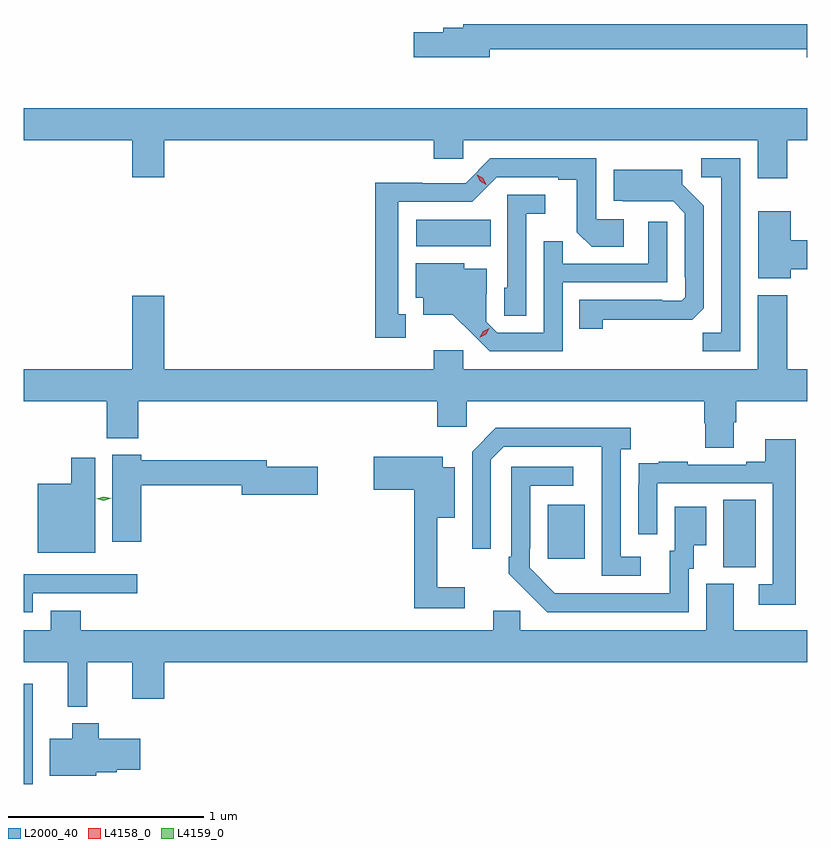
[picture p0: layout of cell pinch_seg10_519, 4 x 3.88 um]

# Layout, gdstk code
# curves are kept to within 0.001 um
import gdstk
lib = gdstk.Library(unit=1e-6, precision=1e-09)
def R(c, l, rs):  # rectangles x0, y0, x1, y1
    for r in rs: c.add(gdstk.rectangle(r[:2], r[2:], *l))
def P(c, l, *ps):  # polygons
    for p in ps: c.add(gdstk.Polygon(p, *l))
L2000_40 = (2000, 40)
L4158_0 = (4158, 0)
L4159_0 = (4159, 0)

pinch_seg10_519 = lib.new_cell('pinch_seg10_519')
R(pinch_seg10_519, L2000_40, [(332.286,1279.714,332.331,1280.227), (335.858,1280.821,336.022,1281.164), (334.961,1280.865,335.149,1281.139), (334.29,1282.46,334.67,1282.594)])
P(pinch_seg10_519, L2000_40, [(334.666,1283.466),(336.284,1283.466),(336.284,1283.423),(336.286,1283.423),(336.286,1283.594),(334.531,1283.594),(334.531,1283.575),(334.427,1283.575),(334.427,1283.553),(334.278,1283.553),(334.278,1283.423),(334.666,1283.423)],
  [(336.185,1283),(336.286,1283),(336.286,1283.164),(332.286,1283.164),(332.286,1283),(332.84,1283),(332.84,1282.812),(333.004,1282.812),(333.004,1283),(334.379,1283),(334.379,1282.907),(334.53,1282.907),(334.53,1283),(336.032,1283),(336.032,1282.806),(336.185,1282.806)],
  [(334.237,1282.113),(334.198,1282.113),(334.198,1282.686),(334.575,1282.686),(334.701,1282.812),(335.015,1282.812),(335.015,1282.8),(335.109,1282.8),(335.109,1282.532),(335.185,1282.456),(335.35,1282.456),(335.35,1282.596),(335.208,1282.596),(335.208,1282.908),(334.668,1282.908),(334.542,1282.782),(334.32,1282.782),(334.32,1282.784),(334.08,1282.784),(334.08,1281.993),(334.237,1281.993)],
  [(335.943,1282.908),(335.745,1282.908),(335.745,1282.812),(335.847,1282.812),(335.847,1282.019),(335.752,1282.019),(335.752,1281.924),(335.943,1281.924)],
  [(335.241,1282.084),(335.698,1282.085),(335.757,1282.144),(335.757,1282.666),(335.647,1282.776),(335.647,1282.849),(335.297,1282.849),(335.297,1282.691),(335.341,1282.691),(335.344,1282.688),(335.601,1282.689),(335.661,1282.629),(335.661,1282.3),(335.664,1282.3),(335.664,1282.2),(335.646,1282.182),(335.546,1282.182),(335.546,1282.185),(335.122,1282.185),(335.122,1282.038),(335.241,1282.038)],
  [(334.851,1282.625),(334.948,1282.625),(334.948,1282.722),(334.755,1282.722),(334.755,1282.248),(334.74,1282.248),(334.74,1282.105),(334.851,1282.105)],
  [(336.202,1282.343),(336.286,1282.343),(336.286,1282.49),(336.202,1282.49),(336.202,1282.639),(336.035,1282.639),(336.035,1282.295),(336.202,1282.295)],
  [(335.037,1282.275),(335.571,1282.275),(335.571,1282.585),(335.475,1282.585),(335.475,1282.371),(335.039,1282.371),(335.039,1282.484),(334.941,1282.484),(334.941,1282.017),(334.704,1282.017),(334.647,1282.074),(334.647,1282.216),(334.651,1282.216),(334.651,1282.345),(334.536,1282.345),(334.536,1282.372),(334.286,1282.372),(334.286,1282.196),(334.325,1282.196),(334.325,1282.109),(334.477,1282.109),(334.664,1281.924),(335.037,1281.924)],
  [(335.911,1281.562),(335.924,1281.562),(335.924,1281.668),(336.286,1281.668),(336.286,1281.832),(336.185,1281.832),(336.185,1282.21),(336.032,1282.21),(336.032,1281.832),(334.53,1281.832),(334.53,1281.928),(334.379,1281.928),(334.379,1281.832),(333.004,1281.832),(333.004,1282.207),(332.84,1282.207),(332.84,1281.832),(332.286,1281.832),(332.286,1281.668),(332.71,1281.668),(332.71,1281.479),(332.87,1281.479),(332.87,1281.668),(334.397,1281.668),(334.397,1281.537),(334.548,1281.537),(334.548,1281.668),(335.759,1281.668),(335.759,1281.555),(335.764,1281.555),(335.764,1281.43),(335.911,1281.43)],
  [(335.437,1280.874),(335.334,1280.874),(335.334,1281.422),(335.386,1281.422),(335.386,1281.532),(334.696,1281.532),(334.575,1281.411),(334.575,1280.916),(334.671,1280.916),(334.671,1281.369),(334.737,1281.435),(335.237,1281.435),(335.238,1280.778),(335.437,1280.778)],
  [(336.227,1281.475),(336.071,1281.475),(336.071,1281.358),(335.975,1281.358),(335.975,1281.345),(335.675,1281.345),(335.675,1281.358),(335.527,1281.358),(335.527,1281.351),(335.425,1281.351),(335.425,1281.242),(335.424,1281.242),(335.424,1280.988),(335.52,1280.988),(335.52,1281.249),(336.111,1281.249),(336.111,1280.733),(336.039,1280.733),(336.039,1280.628),(336.227,1280.628)],
  [(332.885,1281.238),(333.398,1281.238),(333.398,1281.191),(333.787,1281.191),(333.787,1281.333),(333.526,1281.333),(333.526,1281.367),(332.885,1281.367),(332.885,1281.394),(332.738,1281.394),(332.738,1280.952),(332.885,1280.952)],
  [(334.537,1280.719),(334.397,1280.719),(334.397,1281.074),(334.486,1281.074),(334.486,1281.331),(334.426,1281.331),(334.426,1281.385),(334.074,1281.385),(334.074,1281.215),(334.279,1281.215),(334.279,1280.61),(334.537,1280.61)],
  [(332.65,1281.379),(332.528,1281.379),(332.528,1281.247),(332.357,1281.247),(332.357,1280.894),(332.65,1280.894)],
  [(335.682,1280.814),(335.707,1280.814),(335.707,1280.933),(335.77,1280.933),(335.77,1281.13),(335.609,1281.13),(335.609,1280.904),(335.585,1280.904),(335.585,1280.688),(334.998,1280.689),(334.869,1280.817),(334.869,1280.917),(334.872,1280.917),(334.872,1281.237),(335.092,1281.237),(335.092,1281.333),(334.776,1281.333),(334.776,1280.875),(334.761,1280.875),(334.761,1280.787),(334.958,1280.592),(335.682,1280.592)],
  [(332.331,1280.688),(332.866,1280.688),(332.866,1280.784),(332.286,1280.784),(332.286,1280.592),(332.331,1280.592)],
  [(332.61,1280.336),(332.84,1280.336),(332.84,1280.148),(333.004,1280.148),(333.004,1280.336),(336.286,1280.336),(336.286,1280.5),(335.911,1280.5),(335.911,1280.736),(335.771,1280.736),(335.771,1280.5),(334.821,1280.5),(334.821,1280.598),(334.682,1280.598),(334.682,1280.5),(332.576,1280.5),(332.576,1280.599),(332.423,1280.599),(332.423,1280.5),(332.286,1280.5),(332.286,1280.336),(332.51,1280.336),(332.51,1280.108),(332.61,1280.108)],
  [(332.656,1279.775),(332.76,1279.775),(332.76,1279.787),(332.881,1279.787),(332.881,1279.945),(332.669,1279.945),(332.669,1280.023),(332.534,1280.023),(332.534,1279.945),(332.42,1279.945),(332.42,1279.757),(332.656,1279.757)])
P(pinch_seg10_519, L4158_0, [(334.615,1281.996),(334.615,1281.996),(334.632,1282.026),(334.663,1282.041),(334.663,1282.041),(334.663,1282.041),(334.646,1282.011),(334.616,1281.996)],
  [(334.648,1282.773),(334.616,1282.792),(334.599,1282.824),(334.599,1282.825),(334.6,1282.825),(334.631,1282.806),(334.648,1282.773),(334.648,1282.773)])
P(pinch_seg10_519, L4159_0, [(332.694,1281.161),(332.656,1281.171),(332.656,1281.171),(332.656,1281.171),(332.694,1281.181),(332.733,1281.172),(332.733,1281.172),(332.733,1281.172)])

lib.write_gds('pinch_seg10_519.gds')
